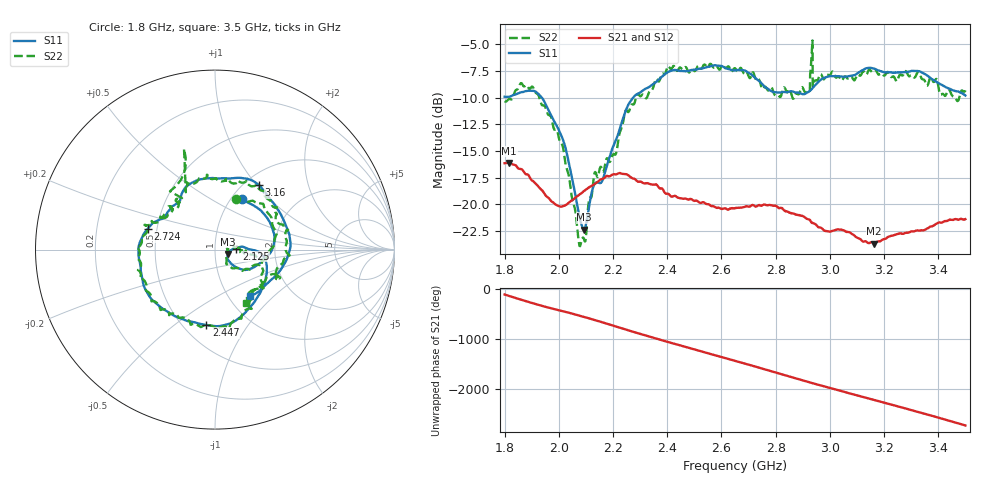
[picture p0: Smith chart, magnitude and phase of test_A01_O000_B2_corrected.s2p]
! Created with skrf 1.9.0 (http://scikit-rf.org).
# Hz S RI R 50.0
!freq ReS11 ImS11 ReS21 ImS21 ReS12 ImS12 ReS22 ImS22
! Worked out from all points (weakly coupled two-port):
!   1601 points, 1.8 GHz to 3.5 GHz, reference 50 ohm
!   highest |S21| = -16.10 dB at 1.817 GHz (marker M1); lowest = -23.7 dB at 3.163 GHz (marker M2)
!   lowest |S11| = -22.4 dB at 2.093 GHz (marker M3), VSWR 1.17, Z = 57.7 - j2.75 ohm
!   |S11| at or under -10 dB: 1.938 GHz to 2.274 GHz (336.3 MHz wide, 16 % of centre)
!   |S22| runs from -23.9 to -4.6 dB; largest |S21 - S12| = 0.0032
!   S11 on the Smith chart (normalised r, x): 1.8 GHz: 1.12, +0.70; 2.125 GHz: 1.27, +0.02; 2.447 GHz: 0.65, -0.66; 2.724 GHz: 0.44, +0.12; 3.16 GHz: 1.16, +1.03; 3.5 GHz: 1.26, -0.72
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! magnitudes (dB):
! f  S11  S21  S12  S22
! 1.8 GHz  -9.9  -16.1  -16.2  -10.3
! 1.817 GHz  -9.9  -16.1  -16.1  -10.1
! 1.902 GHz  -9.4  -17.8  -17.7  -9.0
! 1.968 GHz  -11.5  -19.6  -19.6  -11.6
! 2.022 GHz  -14.5  -20.1  -20.1  -15.8
! 2.084 GHz  -21.9  -18.9  -18.9  -23.4
! 2.093 GHz  -22.4  -18.7  -18.8  -23.3
! 2.125 GHz  -18.5  -18.2  -18.2  -18.4
! 2.161 GHz  -17.7  -17.6  -17.5  -16.9
! 2.208 GHz  -14.1  -17.2  -17.2  -15.3
! 2.261 GHz  -10.4  -17.4  -17.4  -11.1
! 2.367 GHz  -8.3  -18.4  -18.3  -8.5
! 2.447 GHz  -7.5  -19.4  -19.4  -7.2
! 2.65 GHz  -7.4  -20.4  -20.3  -7.2
! 2.724 GHz  -8.1  -20.2  -20.2  -8.1
! 2.867 GHz  -9.4  -20.9  -20.9  -10.0
! 2.918 GHz  -9.5  -21.4  -21.4  -9.3
! 2.934 GHz  -9.2  -21.7  -21.7  -5.4
! 3.16 GHz  -7.2  -23.6  -23.6  -7.5
! 3.163 GHz  -7.3  -23.7  -23.6  -7.4
! 3.217 GHz  -7.6  -23.0  -23.0  -7.7
! 3.5 GHz  -9.8  -21.4  -21.4  -9.3
